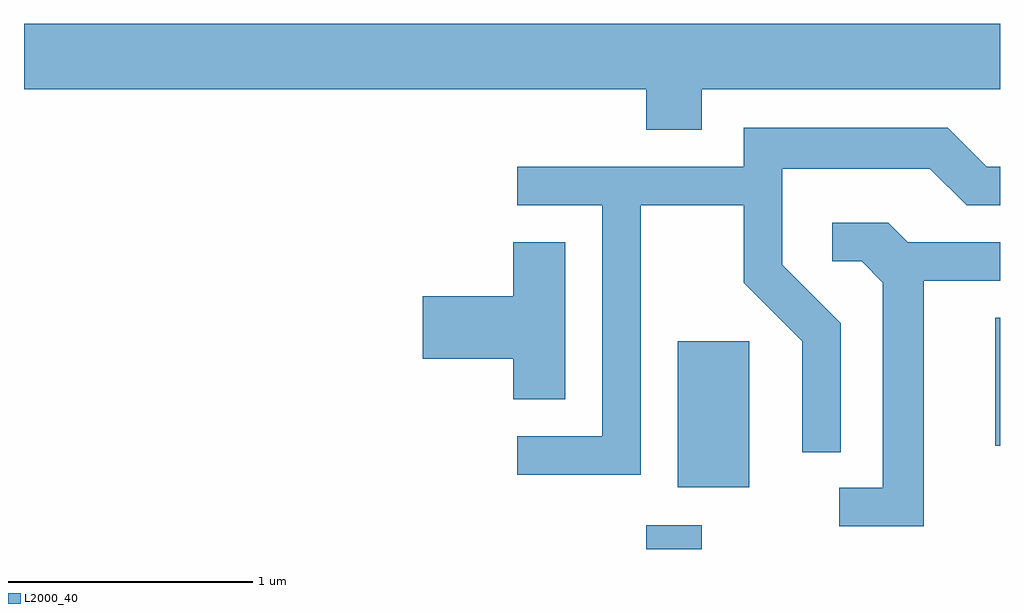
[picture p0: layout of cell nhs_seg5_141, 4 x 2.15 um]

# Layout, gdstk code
import gdstk
lib = gdstk.Library(unit=1e-6, precision=1e-09)
def R(c, l, rs):  # rectangles x0, y0, x1, y1
    for r in rs: c.add(gdstk.rectangle(r[:2], r[2:], *l))
def P(c, l, *ps):  # polygons
    for p in ps: c.add(gdstk.Polygon(p, *l))
L2000_40 = (2000, 40)

nhs_seg5_141 = lib.new_cell('nhs_seg5_141')
R(nhs_seg5_141, L2000_40, [(192.161,1406.072,192.389,1406.169), (192.291,1406.326,192.584,1406.924), (193.591,1406.496,193.611,1407.019)])
P(nhs_seg5_141, L2000_40, [(192.389,1407.956),(193.611,1407.956),(193.611,1408.224),(189.611,1408.224),(189.611,1407.956),(192.161,1407.956),(192.161,1407.791),(192.389,1407.791)],
  [(192.139,1407.481),(192.561,1407.481),(192.561,1407.164),(192.801,1406.924),(192.801,1406.468),(192.959,1406.468),(192.959,1406.997),(192.719,1407.237),(192.719,1407.631),(193.324,1407.631),(193.474,1407.481),(193.611,1407.481),(193.611,1407.639),(193.557,1407.639),(193.397,1407.799),(192.561,1407.799),(192.561,1407.639),(191.633,1407.639),(191.633,1407.481),(191.981,1407.481),(191.981,1406.534),(191.633,1406.534),(191.633,1406.376),(192.139,1406.376)],
  [(193.299,1407.171),(193.611,1407.171),(193.611,1407.329),(193.232,1407.329),(193.152,1407.409),(192.923,1407.409),(192.923,1407.251),(193.044,1407.251),(193.131,1407.164),(193.131,1406.324),(192.953,1406.324),(192.953,1406.166),(193.299,1406.166)],
  [(191.829,1407.329),(191.616,1407.329),(191.616,1407.109),(191.246,1407.109),(191.246,1406.851),(191.616,1406.851),(191.616,1406.686),(191.829,1406.686)])

lib.write_gds('nhs_seg5_141.gds')
